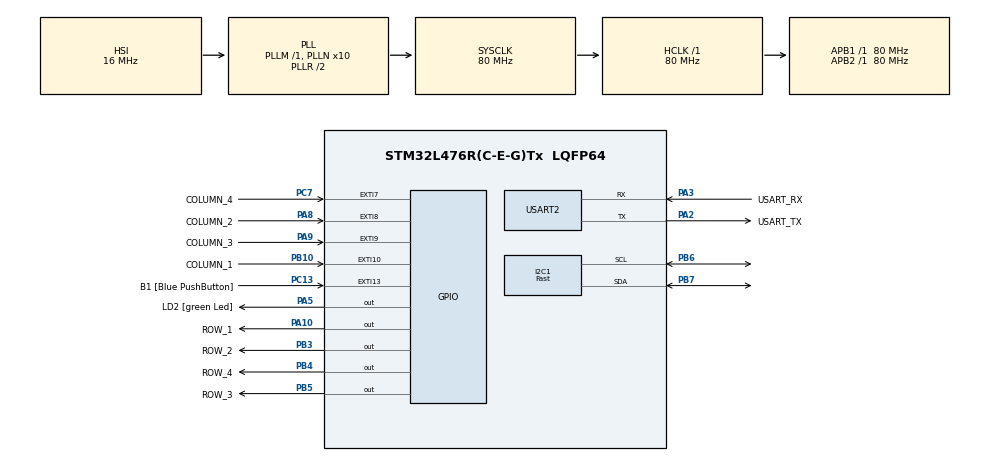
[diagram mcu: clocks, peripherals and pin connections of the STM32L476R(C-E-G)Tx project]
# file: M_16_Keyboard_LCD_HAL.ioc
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I2C1.I2C_Speed_Mode=I2C_Fast
I2C1.Timing=0x00702991
Mcu.Family=STM32L4
Mcu.Name=STM32L476R(C-E-G)Tx
Mcu.Package=LQFP64
NVIC.EXTI15_10_IRQn=true\:0\:0\:false\:false\:true\:true\:true\:true
NVIC.EXTI9_5_IRQn=true\:0\:0\:false\:false\:true\:true\:true\:true
NVIC.PriorityGroup=NVIC_PRIORITYGROUP_4
NVIC.USART2_IRQn=true\:0\:0\:false\:false\:true\:true\:true\:true
PA10.GPIO_Label=ROW_1
PA10.Signal=GPIO_Output
PA13\ (JTMS-SWDIO).GPIO_Label=TMS
PA13\ (JTMS-SWDIO).Mode=Serial_Wire
PA13\ (JTMS-SWDIO).Signal=SYS_JTMS-SWDIO
PA14\ (JTCK-SWCLK).GPIO_Label=TCK
PA14\ (JTCK-SWCLK).Mode=Serial_Wire
PA14\ (JTCK-SWCLK).Signal=SYS_JTCK-SWCLK
PA2.GPIO_Label=USART_TX
PA2.GPIO_Mode=GPIO_MODE_AF_PP
PA2.GPIO_PuPd=GPIO_NOPULL
PA2.GPIO_Speed=GPIO_SPEED_FREQ_VERY_HIGH
PA2.Mode=Asynchronous
PA2.Signal=USART2_TX
PA3.GPIO_Label=USART_RX
PA3.GPIO_Mode=GPIO_MODE_AF_PP
PA3.GPIO_PuPd=GPIO_NOPULL
PA3.GPIO_Speed=GPIO_SPEED_FREQ_VERY_HIGH
PA3.Mode=Asynchronous
PA3.Signal=USART2_RX
PA5.GPIO_Label=LD2 [green Led]
PA5.GPIO_ModeDefaultOutputPP=GPIO_MODE_OUTPUT_PP
PA5.GPIO_PuPd=GPIO_NOPULL
PA5.GPIO_Speed=GPIO_SPEED_FREQ_LOW
PA5.Signal=GPIO_Output
PA8.GPIO_Label=COLUMN_2
PA8.GPIO_PuPd=GPIO_PULLDOWN
PA8.Signal=GPXTI8
PA9.GPIO_Label=COLUMN_3
PA9.GPIO_PuPd=GPIO_PULLDOWN
PA9.Signal=GPXTI9
PB10.GPIO_Label=COLUMN_1
PB10.GPIO_PuPd=GPIO_PULLDOWN
PB10.Signal=GPXTI10
PB3\ (JTDO-TRACESWO).GPIO_Label=ROW_2
PB3\ (JTDO-TRACESWO).Signal=GPIO_Output
PB4\ (NJTRST).GPIO_Label=ROW_4
PB4\ (NJTRST).Signal=GPIO_Output
PB5.GPIO_Label=ROW_3
PB5.Signal=GPIO_Output
PB6.Mode=I2C
PB6.Signal=I2C1_SCL
PB7.Mode=I2C
PB7.Signal=I2C1_SDA
PC13.GPIO_Label=B1 [Blue PushButton]
PC13.GPIO_ModeDefaultEXTI=GPIO_MODE_IT_FALLING
PC13.GPIO_PuPd=GPIO_PULLDOWN
PC13.Signal=GPXTI13
PC14-OSC32_IN\ (PC14).Mode=LSE-External-Oscillator
PC14-OSC32_IN\ (PC14).Signal=RCC_OSC32_IN
PC15-OSC32_OUT\ (PC15).Mode=LSE-External-Oscillator
PC15-OSC32_OUT\ (PC15).Signal=RCC_OSC32_OUT
PC7.GPIO_Label=COLUMN_4
PC7.GPIO_PuPd=GPIO_PULLDOWN
PC7.Signal=GPXTI7
PH0-OSC_IN\ (PH0).Signal=RCC_OSC_IN
PH1-OSC_OUT\ (PH1).Signal=RCC_OSC_OUT
ProjectManager.HeapSize=0x200
ProjectManager.StackSize=0x400
ProjectManager.TargetToolchain=STM32CubeIDE
RCC.ADCFreq_Value=64000000
RCC.AHBFreq_Value=80000000
RCC.APB1Freq_Value=80000000
RCC.APB1TimFreq_Value=80000000
RCC.APB2Freq_Value=80000000
RCC.APB2TimFreq_Value=80000000
RCC.CortexFreq_Value=80000000
RCC.HCLKFreq_Value=80000000
RCC.HSE_VALUE=8000000
RCC.HSI_VALUE=16000000
RCC.MSI_VALUE=4000000
RCC.PLLN=10
RCC.PLLSourceVirtual=RCC_PLLSOURCE_HSI
RCC.PREFETCH_ENABLE=1
RCC.SYSCLKFreq_VALUE=80000000
RCC.SYSCLKSource=RCC_SYSCLKSOURCE_PLLCLK
RCC.USBFreq_Value=64000000
RCC.VCOOutputFreq_Value=160000000
USART2.VirtualMode-Asynchronous=VM_ASYNC
board=NUCLEO-L476RG

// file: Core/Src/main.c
/* USER CODE BEGIN Header */
/**
  ******************************************************************************
  * @file           : main.c
  * @brief          : Main program body
  ******************************************************************************
  * @attention
  *
  * Copyright (c) 2023 STMicroelectronics.
  * All rights reserved.
  *
  * This software is licensed under terms that can be found in the LICENSE file
  * in the root directory of this software component.
  * If no LICENSE file comes with this software, it is provided AS-IS.
  *
  ******************************************************************************
  */
/* USER CODE END Header */
#include "main.h"

/* USER CODE BEGIN Includes */
#include <stdio.h>
#include <string.h>

#include "ring_buffer.h"

#include "ssd1306.h"
#include "ssd1306_fonts.h"

#include "keypad.h"

/* USER CODE END Includes */

I2C_HandleTypeDef hi2c1;

UART_HandleTypeDef huart2;

/* USER CODE BEGIN PV */
ring_buffer_t ring_buffer_uart_rx;
uint8_t rx_buffer[16];
uint8_t rx_data;

uint16_t key_event = 0xFF;

ring_buffer_t ring_buffer_keypad;
uint8_t keypad_buffer[5];
/* USER CODE END PV */

void SystemClock_Config(void);
static void MX_GPIO_Init(void);
static void MX_USART2_UART_Init(void);
static void MX_I2C1_Init(void);

/* USER CODE BEGIN 0 */

int _write(int file, char *ptr, int len)
{
  HAL_UART_Transmit(&huart2, (uint8_t *)ptr, len, HAL_MAX_DELAY);
  return len;
}
/**
  * @brief  Rx Transfer completed callback.
  * @param  huart UART handle.
  * @retval None
  */
void HAL_UART_RxCpltCallback(UART_HandleTypeDef *huart)
{
	if (ring_buffer_put(&ring_buffer_uart_rx, rx_data) == 0) {
		printf("Rx buffer is full\r\n");
	}

	HAL_UART_Receive_IT(&huart2, &rx_data, 1);
}

/**
  * @brief  EXTI line detection callback.
  * @param  GPIO_Pin Specifies the port pin connected
  *         to corresponding EXTI line.
  * @retval None
  */
void HAL_GPIO_EXTI_Callback(uint16_t GPIO_Pin)
{
	key_event = GPIO_Pin;
}

void validate_sequence(void)
{
	printf("Validating\r\n");
	uint8_t birth_date[5] = "2002#";
	uint8_t sequence[5];
	for (uint8_t idx = 0; idx < 5; idx++) {
	  ring_buffer_get(&ring_buffer_keypad, &sequence[idx]);
	}
	if (memcmp(birth_date, sequence, 5) == 0) {
	  	ssd1306_SetCursor(20, 20);
	  	ssd1306_WriteString("Pass", Font_16x26, White);
//		ssd1306_SetCursor(50,10);
//		ssd1306_WriteString("AY", Font_11x18, White);
//		ssd1306_SetCursor(10,30);
//		ssd1306_WriteString("VALENTINA", Font_11x18, White);

	} else {
	  ssd1306_SetCursor(20, 20);
	  ssd1306_WriteString("Fail", Font_16x26, White);
	}
	ssd1306_UpdateScreen();
}
/* USER CODE END 0 */

int main(void)
{

  /* MCU Configuration--------------------------------------------------------*/

  /* Reset of all peripherals, Initializes the Flash interface and the Systick. */
  HAL_Init();

  /* Configure the system clock */
  SystemClock_Config();

  /* Initialize all configured peripherals */
  MX_GPIO_Init();
  MX_USART2_UART_Init();
  MX_I2C1_Init();
  /* USER CODE BEGIN 2 */
  ring_buffer_init(&ring_buffer_uart_rx, rx_buffer, 16);
  ring_buffer_init(&ring_buffer_keypad, keypad_buffer, 5);

  HAL_UART_Receive_IT(&huart2, &rx_data, 1);

  // Inicializar la pantalla SSD
  ssd1306_Init();

  // Poner toda la pantalla en negro
  ssd1306_Fill(Black);

  // establecer el cursor en las coordenas (20,20) || La pantalla es de (100x100)
  ssd1306_SetCursor(20, 20);

  keypad_init(); // Initialize the keypad functionality

  /* USER CODE END 2 */

  /* Infinite loop */
  /* USER CODE BEGIN WHILE */
  while (1)
  {
	  if (key_event != 0xFF) { // check if there is a event from the EXTi callback
		  uint8_t key_pressed = keypad_handler(key_event); // call the keypad handler
		  if (key_pressed != 0xFF) {
			  printf("Key pressed: %c\r\n", key_pressed); // print the key pressed
			  ring_buffer_put(&ring_buffer_keypad, key_pressed);
		  }

		  if (key_pressed == '*') {
			  ring_buffer_reset(&ring_buffer_keypad);
		  } else if (ring_buffer_is_full(&ring_buffer_keypad) != 0) {
			  validate_sequence();
		  }
		  key_event = 0xFF; // clean the event
	  }
    /* USER CODE END WHILE */

  }
}

void SystemClock_Config(void)
{
  RCC_OscInitTypeDef RCC_OscInitStruct = {0};
  RCC_ClkInitTypeDef RCC_ClkInitStruct = {0};

  /** Configure the main internal regulator output voltage
  */
  if (HAL_PWREx_ControlVoltageScaling(PWR_REGULATOR_VOLTAGE_SCALE1) != HAL_OK)
  {
    Error_Handler();
  }

  /** Initializes the RCC Oscillators according to the specified parameters
  * in the RCC_OscInitTypeDef structure.
  */
  RCC_OscInitStruct.OscillatorType = RCC_OSCILLATORTYPE_HSI;
  RCC_OscInitStruct.HSIState = RCC_HSI_ON;
  RCC_OscInitStruct.HSICalibrationValue = RCC_HSICALIBRATION_DEFAULT;
  RCC_OscInitStruct.PLL.PLLState = RCC_PLL_ON;
  RCC_OscInitStruct.PLL.PLLSource = RCC_PLLSOURCE_HSI;
  RCC_OscInitStruct.PLL.PLLM = 1;
  RCC_OscInitStruct.PLL.PLLN = 10;
  RCC_OscInitStruct.PLL.PLLP = RCC_PLLP_DIV7;
  RCC_OscInitStruct.PLL.PLLQ = RCC_PLLQ_DIV2;
  RCC_OscInitStruct.PLL.PLLR = RCC_PLLR_DIV2;
  if (HAL_RCC_OscConfig(&RCC_OscInitStruct) != HAL_OK)
  {
    Error_Handler();
  }

  /** Initializes the CPU, AHB and APB buses clocks
  */
  RCC_ClkInitStruct.ClockType = RCC_CLOCKTYPE_HCLK|RCC_CLOCKTYPE_SYSCLK
                              |RCC_CLOCKTYPE_PCLK1|RCC_CLOCKTYPE_PCLK2;
  RCC_ClkInitStruct.SYSCLKSource = RCC_SYSCLKSOURCE_PLLCLK;
  RCC_ClkInitStruct.AHBCLKDivider = RCC_SYSCLK_DIV1;
  RCC_ClkInitStruct.APB1CLKDivider = RCC_HCLK_DIV1;
  RCC_ClkInitStruct.APB2CLKDivider = RCC_HCLK_DIV1;

  if (HAL_RCC_ClockConfig(&RCC_ClkInitStruct, FLASH_LATENCY_4) != HAL_OK)
  {
    Error_Handler();
  }
}

static void MX_I2C1_Init(void)
{

  hi2c1.Instance = I2C1;
  hi2c1.Init.Timing = 0x00702991;
  hi2c1.Init.OwnAddress1 = 0;
  hi2c1.Init.AddressingMode = I2C_ADDRESSINGMODE_7BIT;
  hi2c1.Init.DualAddressMode = I2C_DUALADDRESS_DISABLE;
  hi2c1.Init.OwnAddress2 = 0;
  hi2c1.Init.OwnAddress2Masks = I2C_OA2_NOMASK;
  hi2c1.Init.GeneralCallMode = I2C_GENERALCALL_DISABLE;
  hi2c1.Init.NoStretchMode = I2C_NOSTRETCH_DISABLE;
  if (HAL_I2C_Init(&hi2c1) != HAL_OK)
  {
    Error_Handler();
  }

  /** Configure Analogue filter
  */
  if (HAL_I2CEx_ConfigAnalogFilter(&hi2c1, I2C_ANALOGFILTER_ENABLE) != HAL_OK)
  {
    Error_Handler();
  }

  /** Configure Digital filter
  */
  if (HAL_I2CEx_ConfigDigitalFilter(&hi2c1, 0) != HAL_OK)
  {
    Error_Handler();
  }

}

static void MX_USART2_UART_Init(void)
{

  huart2.Instance = USART2;
  huart2.Init.BaudRate = 115200;
  huart2.Init.WordLength = UART_WORDLENGTH_8B;
  huart2.Init.StopBits = UART_STOPBITS_1;
  huart2.Init.Parity = UART_PARITY_NONE;
  huart2.Init.Mode = UART_MODE_TX_RX;
  huart2.Init.HwFlowCtl = UART_HWCONTROL_NONE;
  huart2.Init.OverSampling = UART_OVERSAMPLING_16;
  huart2.Init.OneBitSampling = UART_ONE_BIT_SAMPLE_DISABLE;
  huart2.AdvancedInit.AdvFeatureInit = UART_ADVFEATURE_NO_INIT;
  if (HAL_UART_Init(&huart2) != HAL_OK)
  {
    Error_Handler();
  }

}

static void MX_GPIO_Init(void)
{
  GPIO_InitTypeDef GPIO_InitStruct = {0};

  /* GPIO Ports Clock Enable */
  __HAL_RCC_GPIOC_CLK_ENABLE();
  __HAL_RCC_GPIOH_CLK_ENABLE();
  __HAL_RCC_GPIOA_CLK_ENABLE();
  __HAL_RCC_GPIOB_CLK_ENABLE();

  /*Configure GPIO pin Output Level */
  HAL_GPIO_WritePin(GPIOA, LD2_Pin|ROW_1_Pin, GPIO_PIN_RESET);

  /*Configure GPIO pin Output Level */
  HAL_GPIO_WritePin(GPIOB, ROW_2_Pin|ROW_4_Pin|ROW_3_Pin, GPIO_PIN_RESET);

  /*Configure GPIO pin : B1_Pin */
  GPIO_InitStruct.Pin = B1_Pin;
  GPIO_InitStruct.Mode = GPIO_MODE_IT_FALLING;
  GPIO_InitStruct.Pull = GPIO_PULLDOWN;
  HAL_GPIO_Init(B1_GPIO_Port, &GPIO_InitStruct);

  /*Configure GPIO pins : LD2_Pin ROW_1_Pin */
  GPIO_InitStruct.Pin = LD2_Pin|ROW_1_Pin;
  GPIO_InitStruct.Mode = GPIO_MODE_OUTPUT_PP;
  GPIO_InitStruct.Pull = GPIO_NOPULL;
  GPIO_InitStruct.Speed = GPIO_SPEED_FREQ_LOW;
  HAL_GPIO_Init(GPIOA, &GPIO_InitStruct);

  /*Configure GPIO pin : COLUMN_1_Pin */
  GPIO_InitStruct.Pin = COLUMN_1_Pin;
  GPIO_InitStruct.Mode = GPIO_MODE_IT_RISING;
  GPIO_InitStruct.Pull = GPIO_PULLDOWN;
  HAL_GPIO_Init(COLUMN_1_GPIO_Port, &GPIO_InitStruct);

  /*Configure GPIO pin : COLUMN_4_Pin */
  GPIO_InitStruct.Pin = COLUMN_4_Pin;
  GPIO_InitStruct.Mode = GPIO_MODE_IT_RISING;
  GPIO_InitStruct.Pull = GPIO_PULLDOWN;
  HAL_GPIO_Init(COLUMN_4_GPIO_Port, &GPIO_InitStruct);

  /*Configure GPIO pins : COLUMN_2_Pin COLUMN_3_Pin */
  GPIO_InitStruct.Pin = COLUMN_2_Pin|COLUMN_3_Pin;
  GPIO_InitStruct.Mode = GPIO_MODE_IT_RISING;
  GPIO_InitStruct.Pull = GPIO_PULLDOWN;
  HAL_GPIO_Init(GPIOA, &GPIO_InitStruct);

  /*Configure GPIO pins : ROW_2_Pin ROW_4_Pin ROW_3_Pin */
  GPIO_InitStruct.Pin = ROW_2_Pin|ROW_4_Pin|ROW_3_Pin;
  GPIO_InitStruct.Mode = GPIO_MODE_OUTPUT_PP;
  GPIO_InitStruct.Pull = GPIO_NOPULL;
  GPIO_InitStruct.Speed = GPIO_SPEED_FREQ_LOW;
  HAL_GPIO_Init(GPIOB, &GPIO_InitStruct);

  /* EXTI interrupt init*/
  HAL_NVIC_SetPriority(EXTI9_5_IRQn, 0, 0);
  HAL_NVIC_EnableIRQ(EXTI9_5_IRQn);

  HAL_NVIC_SetPriority(EXTI15_10_IRQn, 0, 0);
  HAL_NVIC_EnableIRQ(EXTI15_10_IRQn);

}

void Error_Handler(void)
{
  __disable_irq();
  while (1)
  {
  }
}
